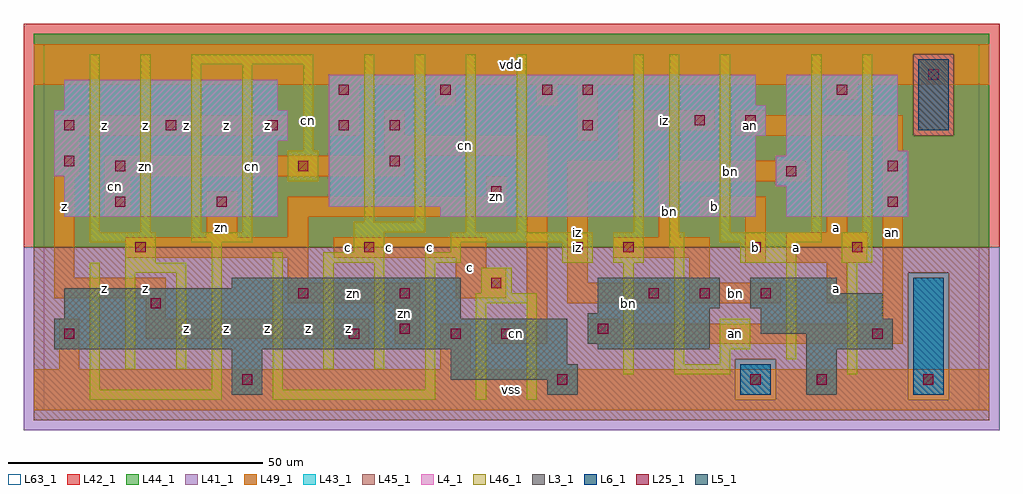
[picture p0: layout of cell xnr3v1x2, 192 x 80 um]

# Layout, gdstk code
import gdstk
lib = gdstk.Library(unit=1e-6, precision=1e-09)
def R(c, l, rs):  # rectangles x0, y0, x1, y1
    for r in rs: c.add(gdstk.rectangle(r[:2], r[2:], *l))
def A(c, l, x, y, w, h, nx, ny, dx, dy):  # array of equal rectangles
    R(c, l, [(x+i*dx, y+j*dy, x+i*dx+w, y+j*dy+h) for i in range(nx) for j in range(ny)])
L3_1 = (3, 1)
L4_1 = (4, 1)
L5_1 = (5, 1)
L6_1 = (6, 1)
L25_1 = (25, 1)
L41_1 = (41, 1)
L42_1 = (42, 1)
L43_1 = (43, 1)
L44_1 = (44, 1)
L45_1 = (45, 1)
L46_1 = (46, 1)
L49_1 = (49, 1)
L63_1 = (63, 1)

xnr3v1x2 = lib.new_cell('xnr3v1x2')
R(xnr3v1x2, L3_1, [(37,3,43,12), (99,3,105,6), (150,3,156,12), (80,6,105,9), (80,9,103,12), (2,12,103,18), (109,12,131,13), (150,12,167,15), (107,13,131,19), (141,15,167,18), (4,18,82,24), (141,18,165,20), (109,19,131,20), (109,20,133,26), (139,20,165,23), (139,23,156,26), (37,24,82,26)])
R(xnr3v1x2, L4_1, [(4,38,46,46), (78,38,140,40), (146,38,170,44), (56,40,140,54), (144,44,170,50), (2,46,46,53), (146,50,170,51), (146,51,168,66), (2,53,48,59), (56,54,142,60), (4,59,46,65), (56,60,140,66)])
R(xnr3v1x2, L5_1, [(172,55,178,69)])
R(xnr3v1x2, L6_1, [(137,3,143,9), (137,3,143,9), (171,3,177,26), (171,3,177,26)])
A(xnr3v1x2, L25_1, 4, 55, 2, 2, 3, 1, 20, 0)
A(xnr3v1x2, L25_1, 58, 62, 2, 2, 3, 1, 20, 0)
R(xnr3v1x2, L25_1, [(39,5,41,7), (101,5,103,7), (139,5,141,7), (152,5,154,7), (173,5,175,7), (4,14,6,16), (60,14,62,16), (80,14,82,16), (90,14,92,16), (135,14,137,16), (163,14,165,16), (70,15,72,17), (109,15,111,17), (21,20,23,22), (50,22,52,24), (70,22,72,24), (119,22,121,24), (129,22,131,24), (141,22,143,24), (88,24,90,26), (18,31,20,33), (63,31,65,33), (104,31,106,33), (114,31,116,33), (139,31,141,33), (159,31,161,33), (14,40,16,42), (34,40,36,42), (166,40,168,42), (88,42,90,44), (146,46,148,48), (14,47,16,49), (50,47,52,49), (166,47,168,49), (4,48,6,50), (68,48,70,50), (58,55,60,57), (68,55,70,57), (106,55,108,57), (128,56,130,58), (138,56,140,58), (106,62,108,64), (156,62,158,64), (174,65,176,67)])
R(xnr3v1x2, L41_1, [(-4,-4,188,32)])
R(xnr3v1x2, L42_1, [(-4,32,188,76)])
R(xnr3v1x2, L43_1, [(37,3,43,12), (99,3,105,6), (137,3,143,9), (150,3,156,12), (171,3,177,26), (80,6,105,9), (80,9,103,12), (2,12,103,18), (109,12,131,13), (150,12,167,15), (107,13,131,19), (141,15,167,18), (4,18,82,24), (141,18,165,20), (109,19,131,20), (109,20,133,26), (139,20,165,23), (139,23,156,26), (37,24,82,26), (4,38,46,46), (78,38,140,40), (146,38,170,44), (56,40,140,54), (144,44,170,50), (2,46,46,53), (146,50,170,51), (146,51,168,66), (2,53,48,59), (56,54,142,60), (172,55,178,69), (4,59,46,65), (56,60,140,66)])
R(xnr3v1x2, L44_1, [(136,2,144,10), (170,2,178,27), (-2,32,186,54), (-2,54,171,70), (179,54,186,70), (-2,70,186,74)])
R(xnr3v1x2, L45_1, [(-2,-2,186,2), (-2,2,136,10), (144,2,170,10), (178,2,186,27), (-2,10,170,27), (-2,27,186,32), (171,54,179,70)])
R(xnr3v1x2, L46_1, [(9,2,35,4), (45,2,77,4), (85,2,87,21), (95,2,97,21), (9,4,11,29), (33,4,35,33), (45,4,47,31), (75,4,77,29), (114,7,116,29), (124,7,135,9), (158,7,160,29), (16,8,18,27), (26,8,28,27), (55,8,57,29), (65,8,67,29), (124,9,126,32), (133,9,135,12), (146,10,148,29), (133,12,139,18), (85,21,97,23), (86,23,92,28), (16,27,28,29), (16,29,22,33), (55,29,67,31), (75,29,82,31), (102,29,108,33), (112,29,118,35), (137,29,148,33), (157,29,163,35), (61,31,67,35), (80,31,82,33), (123,32,126,35), (9,33,22,35), (29,33,41,35), (80,33,108,35), (133,33,153,35), (9,35,11,70), (19,35,21,70), (29,35,31,68), (39,35,41,68), (61,35,75,37), (83,35,85,70), (93,35,95,70), (116,35,118,70), (123,35,125,70), (133,35,135,70), (151,35,153,70), (161,35,163,70), (63,37,65,70), (73,37,75,70), (48,45,54,51), (51,51,53,68), (29,68,53,70)])
R(xnr3v1x2, L49_1, [(-2,0,186,8), (3,8,7,18), (78,8,84,17), (58,13,64,14), (69,13,74,21), (88,13,99,17), (107,13,169,17), (20,14,64,18), (95,17,99,50), (107,17,113,18), (165,17,169,54), (20,18,24,22), (48,21,74,25), (103,21,123,25), (127,21,145,25), (154,21,158,29), (2,22,24,26), (81,22,91,28), (48,25,52,30), (103,25,107,45), (127,25,131,30), (2,26,6,46), (81,28,87,30), (138,29,142,38), (146,29,162,35), (16,30,52,34), (57,30,87,34), (112,30,131,34), (32,34,38,43), (48,34,52,38), (121,34,125,45), (154,35,158,51), (12,38,17,46), (48,38,91,42), (129,38,142,42), (87,42,91,46), (103,45,117,49), (121,45,150,49), (2,46,7,54), (12,46,71,50), (113,49,117,55), (67,50,99,54), (105,53,109,64), (2,54,48,58), (56,54,62,64), (67,54,71,59), (136,54,169,58), (113,55,132,59), (136,58,142,59), (77,60,81,64), (97,60,101,64), (154,61,160,64), (-2,64,186,72)])
R(xnr3v1x2, L63_1, [(0,0,184,72)])
xnr3v1x2.add(gdstk.Label('zn', (20,48), layer=46, texttype=1))
xnr3v1x2.add(gdstk.Label('cn', (52,57), layer=46, texttype=1))
xnr3v1x2.add(gdstk.Label('bn', (115,21), layer=46, texttype=1))
xnr3v1x2.add(gdstk.Label('iz', (105,32), layer=49, texttype=1))
xnr3v1x2.add(gdstk.Label('an', (136,15), layer=49, texttype=1))
xnr3v1x2.add(gdstk.Label('z', (28,16), layer=49, texttype=1))
xnr3v1x2.add(gdstk.Label('z', (20,24), layer=49, texttype=1))
xnr3v1x2.add(gdstk.Label('z', (12,24), layer=49, texttype=1))
xnr3v1x2.add(gdstk.Label('z', (4,40), layer=49, texttype=1))
xnr3v1x2.add(gdstk.Label('cn', (14,44), layer=49, texttype=1))
xnr3v1x2.add(gdstk.Label('z', (28,56), layer=49, texttype=1))
xnr3v1x2.add(gdstk.Label('z', (20,56), layer=49, texttype=1))
xnr3v1x2.add(gdstk.Label('z', (12,56), layer=49, texttype=1))
xnr3v1x2.add(gdstk.Label('z', (60,16), layer=49, texttype=1))
xnr3v1x2.add(gdstk.Label('z', (52,16), layer=49, texttype=1))
xnr3v1x2.add(gdstk.Label('z', (44,16), layer=49, texttype=1))
xnr3v1x2.add(gdstk.Label('z', (36,16), layer=49, texttype=1))
xnr3v1x2.add(gdstk.Label('c', (68,32), layer=49, texttype=1))
xnr3v1x2.add(gdstk.Label('c', (60,32), layer=49, texttype=1))
xnr3v1x2.add(gdstk.Label('zn', (35,36), layer=49, texttype=1))
xnr3v1x2.add(gdstk.Label('cn', (41,48), layer=49, texttype=1))
xnr3v1x2.add(gdstk.Label('z', (44,56), layer=49, texttype=1))
xnr3v1x2.add(gdstk.Label('z', (36,56), layer=49, texttype=1))
xnr3v1x2.add(gdstk.Label('vss', (92,4), layer=49, texttype=1))
xnr3v1x2.add(gdstk.Label('cn', (93,15), layer=49, texttype=1))
xnr3v1x2.add(gdstk.Label('zn', (71,19), layer=49, texttype=1))
xnr3v1x2.add(gdstk.Label('zn', (61,23), layer=49, texttype=1))
xnr3v1x2.add(gdstk.Label('c', (84,28), layer=49, texttype=1))
xnr3v1x2.add(gdstk.Label('c', (76,32), layer=49, texttype=1))
xnr3v1x2.add(gdstk.Label('zn', (89,42), layer=49, texttype=1))
xnr3v1x2.add(gdstk.Label('iz', (105,35), layer=49, texttype=1))
xnr3v1x2.add(gdstk.Label('cn', (83,52), layer=49, texttype=1))
xnr3v1x2.add(gdstk.Label('vdd', (92,68), layer=49, texttype=1))
xnr3v1x2.add(gdstk.Label('iz', (113,23), layer=49, texttype=1))
xnr3v1x2.add(gdstk.Label('bn', (136,23), layer=49, texttype=1))
xnr3v1x2.add(gdstk.Label('b', (140,32), layer=49, texttype=1))
xnr3v1x2.add(gdstk.Label('b', (132,40), layer=49, texttype=1))
xnr3v1x2.add(gdstk.Label('bn', (123,39), layer=49, texttype=1))
xnr3v1x2.add(gdstk.Label('an', (139,56), layer=49, texttype=1))
xnr3v1x2.add(gdstk.Label('iz', (122,57), layer=49, texttype=1))
xnr3v1x2.add(gdstk.Label('an', (138,15), layer=49, texttype=1))
xnr3v1x2.add(gdstk.Label('a', (156,24), layer=49, texttype=1))
xnr3v1x2.add(gdstk.Label('a', (148,32), layer=49, texttype=1))
xnr3v1x2.add(gdstk.Label('a', (156,36), layer=49, texttype=1))
xnr3v1x2.add(gdstk.Label('bn', (135,47), layer=49, texttype=1))
xnr3v1x2.add(gdstk.Label('an', (167,35), layer=49, texttype=1))

lib.write_gds('xnr3v1x2.gds')
